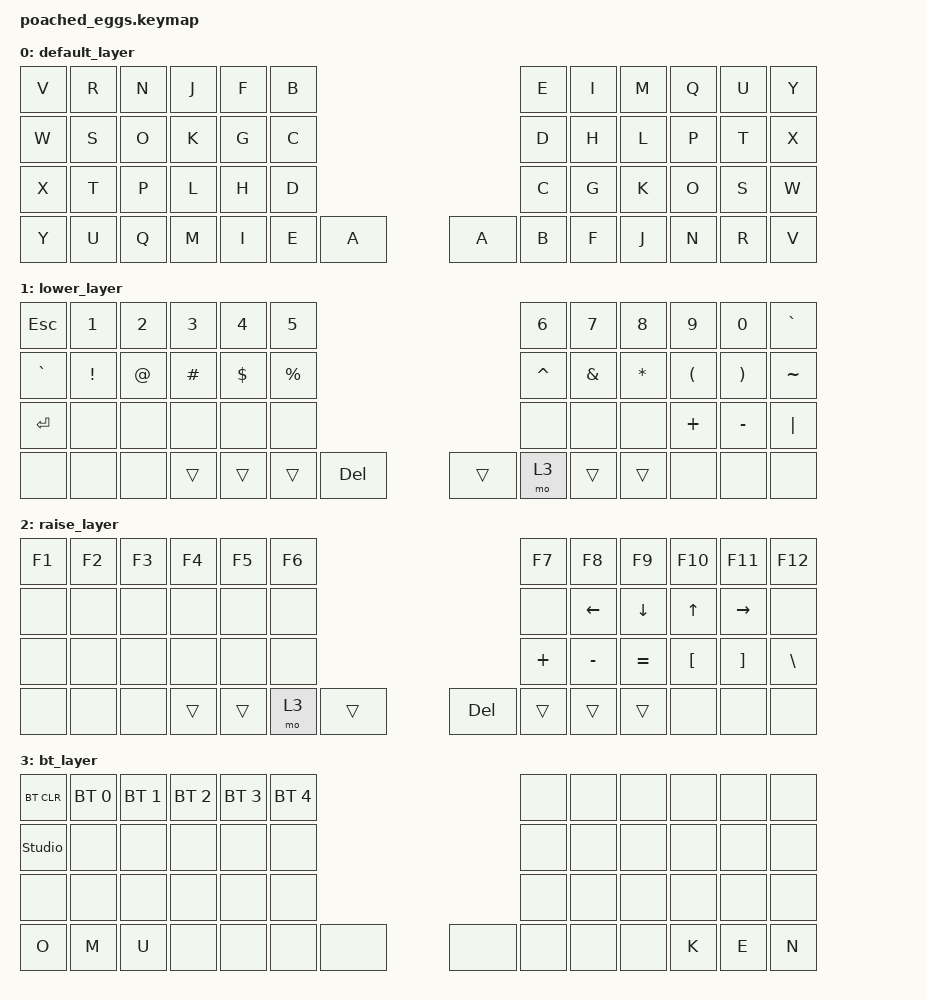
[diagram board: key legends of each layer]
#include <behaviors.dtsi>
#include <dt-bindings/zmk/keys.h>
#include <dt-bindings/zmk/bt.h>

/ {
    keymap {
        compatible = "zmk,keymap";

        default_layer {
            bindings = <
                &kp V       &kp R       &kp N       &kp J       &kp F       &kp B                          &kp E       &kp I        &kp M       &kp Q       &kp U        &kp Y
                &kp W       &kp S       &kp O       &kp K       &kp G       &kp C                          &kp D       &kp H        &kp L       &kp P       &kp T        &kp X
                &kp X       &kp T       &kp P       &kp L       &kp H       &kp D                          &kp C       &kp G        &kp K       &kp O       &kp S        &kp W
                &kp Y       &kp U       &kp Q       &kp M       &kp I       &kp E       &kp A    &kp A     &kp B       &kp F        &kp J       &kp N       &kp R        &kp V
            >;
        };

        lower_layer {
            bindings = <
                &kp ESC     &kp N1      &kp N2      &kp N3      &kp N4      &kp N5                              &kp N6      &kp N7      &kp N8      &kp N9      &kp N0      &kp GRAVE
                &kp GRAVE   &kp EXCL    &kp AT      &kp HASH    &kp DOLLAR  &kp PRCNT                           &kp CARET   &kp AMPS    &kp ASTRK   &kp LPAR    &kp RPAR    &kp TILDE
                &kp RET     &none       &none       &none       &none       &none                               &none       &none       &none       &kp PLUS    &kp MINUS   &kp PIPE
                &none       &none       &none       &trans      &trans      &trans      &kp DEL     &trans      &mo 3       &trans      &trans      &none       &none       &none
            >;
        };

        raise_layer {
            bindings = <
                &kp F1      &kp F2      &kp F3      &kp F4      &kp F5      &kp F6                              &kp F7      &kp F8      &kp F9      &kp F10     &kp F11     &kp F12
                &none       &none       &none       &none       &none       &none                               &none       &kp LEFT    &kp DOWN    &kp UP      &kp RIGHT   &none
                &none       &none       &none       &none       &none       &none                               &kp PLUS    &kp MINUS   &kp EQUAL   &kp LBKT    &kp RBKT    &kp BSLH
                &none       &none       &none       &trans      &trans      &mo 3       &trans      &kp DEL     &trans      &trans      &trans      &none       &none       &none
            >;
        };

        bt_layer {
            bindings = <
                &bt BT_CLR      &bt BT_SEL 0 &bt BT_SEL 1 &bt BT_SEL 2 &bt BT_SEL 3 &bt BT_SEL 4                         &none       &none       &none       &none       &none       &none
                &studio_unlock  &none        &none        &none        &none        &none                                &none       &none       &none       &none       &none       &none
                &none           &none        &none        &none        &none        &none                                &none       &none       &none       &none       &none       &none
                &kp O           &kp M        &kp U        &none        &none        &none        &none       &none       &none       &none       &none       &kp K       &kp E       &kp N
            >;
        };
    };
};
